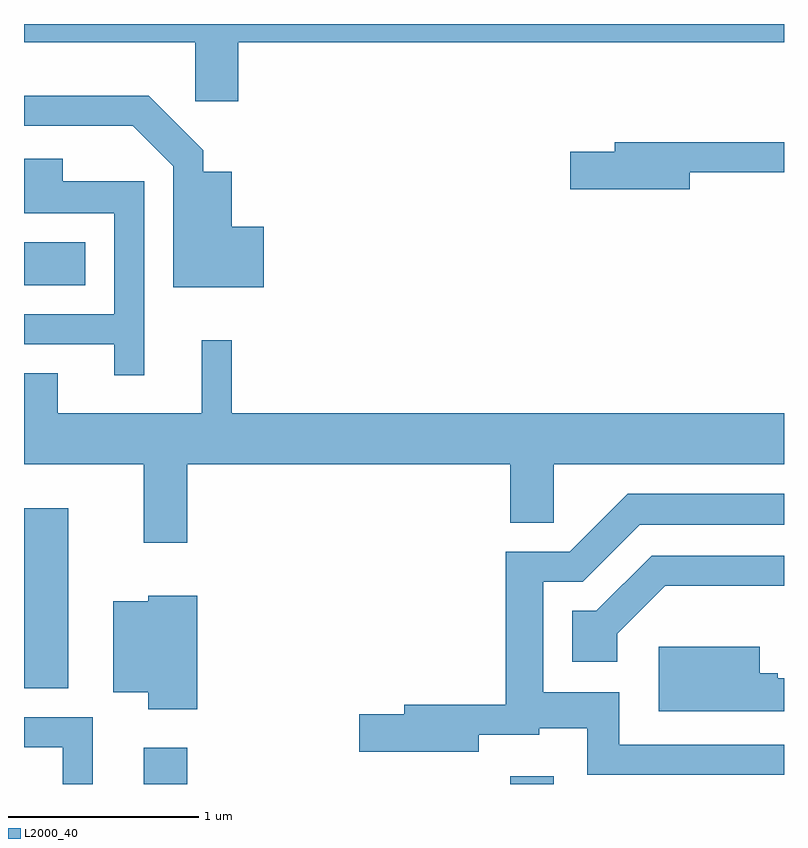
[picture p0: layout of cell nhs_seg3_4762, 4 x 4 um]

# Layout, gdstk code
import gdstk
lib = gdstk.Library(unit=1e-6, precision=1e-09)
def R(c, l, rs):  # rectangles x0, y0, x1, y1
    for r in rs: c.add(gdstk.rectangle(r[:2], r[2:], *l))
def P(c, l, *ps):  # polygons
    for p in ps: c.add(gdstk.Polygon(p, *l))
L2000_40 = (2000, 40)

nhs_seg3_4762 = lib.new_cell('nhs_seg3_4762')
R(nhs_seg3_4762, L2000_40, [(326.241,1119.892,326.469,1120.084), (328.171,1119.892,328.399,1119.934), (325.611,1120.396,325.844,1121.344), (325.611,1122.516,325.934,1122.744)])
P(nhs_seg3_4762, L2000_40, [(326.739,1123.796),(329.611,1123.796),(329.611,1123.892),(325.611,1123.892),(325.611,1123.796),(326.511,1123.796),(326.511,1123.486),(326.739,1123.486)],
  [(326.874,1122.824),(326.704,1122.824),(326.704,1123.114),(326.554,1123.114),(326.554,1123.227),(326.267,1123.514),(325.611,1123.514),(325.611,1123.356),(326.184,1123.356),(326.396,1123.144),(326.396,1122.506),(326.874,1122.506)],
  [(329.114,1123.111),(329.611,1123.111),(329.611,1123.269),(328.721,1123.269),(328.721,1123.219),(328.486,1123.219),(328.486,1123.021),(329.114,1123.021)],
  [(326.244,1123.064),(325.814,1123.064),(325.814,1123.184),(325.611,1123.184),(325.611,1122.896),(326.086,1122.896),(326.086,1122.364),(325.611,1122.364),(325.611,1122.206),(326.086,1122.206),(326.086,1122.043),(326.244,1122.043)],
  [(326.469,1121.576),(328.171,1121.576),(328.171,1121.266),(328.399,1121.266),(328.399,1121.576),(329.611,1121.576),(329.611,1121.844),(326.704,1121.844),(326.704,1122.228),(326.546,1122.228),(326.546,1121.844),(325.789,1121.844),(325.789,1122.054),(325.611,1122.054),(325.611,1121.576),(326.241,1121.576),(326.241,1121.161),(326.469,1121.161)],
  [(329.611,1120.099),(328.744,1120.099),(328.744,1120.374),(328.344,1120.374),(328.344,1120.956),(328.552,1120.956),(328.852,1121.256),(329.611,1121.256),(329.611,1121.419),(328.789,1121.419),(328.484,1121.114),(328.146,1121.114),(328.146,1120.309),(327.611,1120.309),(327.611,1120.259),(327.376,1120.259),(327.376,1120.061),(328.004,1120.061),(328.004,1120.151),(328.324,1120.151),(328.324,1120.186),(328.576,1120.186),(328.576,1119.941),(329.611,1119.941)],
  [(328.734,1120.684),(328.987,1120.936),(329.611,1120.936),(329.611,1121.094),(328.914,1121.094),(328.624,1120.804),(328.496,1120.804),(328.496,1120.536),(328.734,1120.536)],
  [(326.524,1120.884),(326.266,1120.884),(326.266,1120.854),(326.081,1120.854),(326.081,1120.376),(326.266,1120.376),(326.266,1120.286),(326.524,1120.286)],
  [(329.611,1120.449),(329.579,1120.449),(329.579,1120.474),(329.484,1120.474),(329.484,1120.614),(328.951,1120.614),(328.951,1120.276),(329.611,1120.276)],
  [(325.974,1120.244),(325.611,1120.244),(325.611,1120.086),(325.816,1120.086),(325.816,1119.892),(325.974,1119.892)])

lib.write_gds('nhs_seg3_4762.gds')
